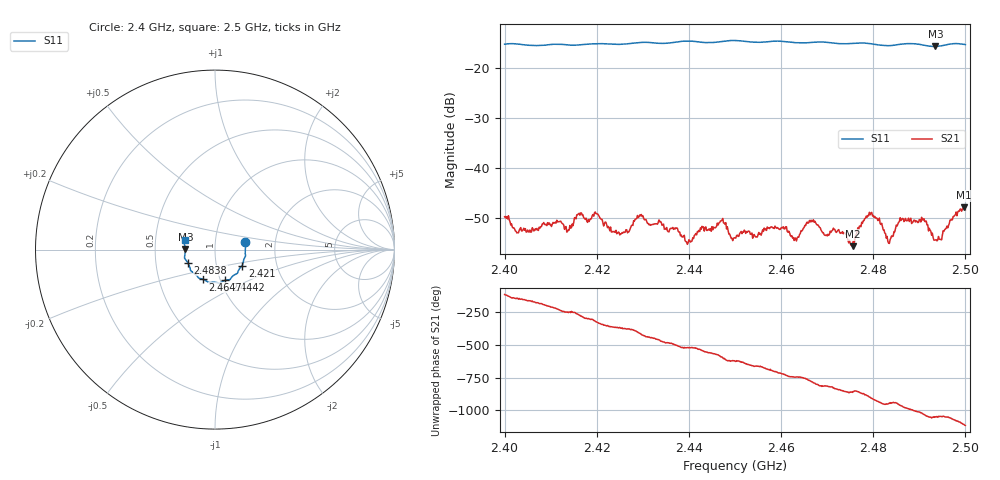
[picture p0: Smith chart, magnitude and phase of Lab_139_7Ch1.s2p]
# Hz S RI R 50
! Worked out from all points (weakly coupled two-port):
!   601 points, 2.4 GHz to 2.5 GHz, reference 50 ohm
!   highest |S21| = -47.84 dB at 2.4997 GHz (marker M1); lowest = -55.6 dB at 2.4755 GHz (marker M2)
!   lowest |S11| = -15.7 dB at 2.4935 GHz (marker M3), VSWR 1.39, Z = 35.9 + j0.17 ohm
!   |S11| at or under -10 dB: start of sweep to end of sweep
!   S12 and S22 are empty: the file has one direction only
!   S11 on the Smith chart (normalised r, x): 2.4 GHz: 1.40, +0.12; 2.421 GHz: 1.33, -0.24; 2.4442 GHz: 1.05, -0.37; 2.4647 GHz: 0.83, -0.28; 2.4838 GHz: 0.73, -0.11; 2.5 GHz: 0.71, +0.08
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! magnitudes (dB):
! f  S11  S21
! 2.4 GHz  -15.2  -49.8
! 2.4053 GHz  -15.4  -52.8
! 2.4167 GHz  -15.3  -49.0
! 2.421 GHz  -15.1  -50.2
! 2.4248 GHz  -15.2  -52.9
! 2.4293 GHz  -14.9  -49.4
! 2.4333 GHz  -15.0  -50.9
! 2.4398 GHz  -14.6  -54.9
! 2.4442 GHz  -14.9  -52.4
! 2.4472 GHz  -14.6  -50.4
! 2.45 GHz  -14.5  -54.0
! 2.4647 GHz  -14.9  -52.4
! 2.4667 GHz  -14.8  -50.7
! 2.4755 GHz  -15.1  -55.6
! 2.4793 GHz  -15.1  -49.3
! 2.4833 GHz  -15.5  -55.0
! 2.4838 GHz  -15.5  -53.9
! 2.486 GHz  -15.2  -50.5
! 2.4905 GHz  -15.3  -49.8
! 2.4935 GHz  -15.7  -54.3
! 2.4997 GHz  -15.2  -47.8
! 2.5 GHz  -15.3  -48.3
